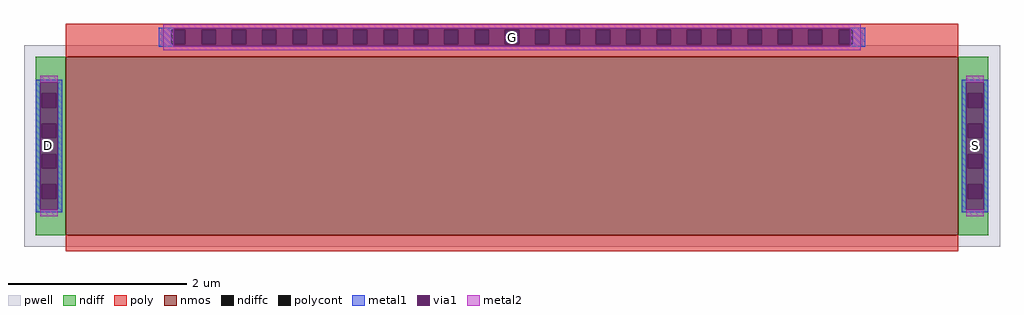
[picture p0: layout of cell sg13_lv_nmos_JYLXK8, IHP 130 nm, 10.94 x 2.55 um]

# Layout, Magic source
magic
tech ihp-sg13g2
magscale 1 2
<< pwell >>
rect -1094 -245 1094 207
<< nmos >>
rect -1000 -219 1000 181
<< ndiff >>
rect -1068 99 -1000 181
rect -1068 67 -1054 99
rect -1022 67 -1000 99
rect -1068 31 -1000 67
rect -1068 -1 -1054 31
rect -1022 -1 -1000 31
rect -1068 -37 -1000 -1
rect -1068 -69 -1054 -37
rect -1022 -69 -1000 -37
rect -1068 -105 -1000 -69
rect -1068 -137 -1054 -105
rect -1022 -137 -1000 -105
rect -1068 -219 -1000 -137
rect 1000 99 1068 181
rect 1000 67 1022 99
rect 1054 67 1068 99
rect 1000 31 1068 67
rect 1000 -1 1022 31
rect 1054 -1 1068 31
rect 1000 -37 1068 -1
rect 1000 -69 1022 -37
rect 1054 -69 1068 -37
rect 1000 -105 1068 -69
rect 1000 -137 1022 -105
rect 1054 -137 1068 -105
rect 1000 -219 1068 -137
<< ndiffc >>
rect -1054 67 -1022 99
rect -1054 -1 -1022 31
rect -1054 -69 -1022 -37
rect -1054 -137 -1022 -105
rect 1022 67 1054 99
rect 1022 -1 1054 31
rect 1022 -69 1054 -37
rect 1022 -137 1054 -105
<< poly >>
rect -1000 241 1000 255
rect -1000 209 -764 241
rect -732 209 -696 241
rect -664 209 -628 241
rect -596 209 -560 241
rect -528 209 -492 241
rect -460 209 -424 241
rect -392 209 -356 241
rect -324 209 -288 241
rect -256 209 -220 241
rect -188 209 -152 241
rect -120 209 -84 241
rect -52 209 -16 241
rect 16 209 52 241
rect 84 209 120 241
rect 152 209 188 241
rect 220 209 256 241
rect 288 209 324 241
rect 356 209 392 241
rect 424 209 460 241
rect 492 209 528 241
rect 560 209 596 241
rect 628 209 664 241
rect 696 209 732 241
rect 764 209 1000 241
rect -1000 181 1000 209
rect -1000 -255 1000 -219
<< polycont >>
rect -764 209 -732 241
rect -696 209 -664 241
rect -628 209 -596 241
rect -560 209 -528 241
rect -492 209 -460 241
rect -424 209 -392 241
rect -356 209 -324 241
rect -288 209 -256 241
rect -220 209 -188 241
rect -152 209 -120 241
rect -84 209 -52 241
rect -16 209 16 241
rect 52 209 84 241
rect 120 209 152 241
rect 188 209 220 241
rect 256 209 288 241
rect 324 209 356 241
rect 392 209 424 241
rect 460 209 492 241
rect 528 209 560 241
rect 596 209 628 241
rect 664 209 696 241
rect 732 209 764 241
<< metal1 >>
rect -792 245 792 246
rect -792 241 -758 245
rect 758 241 792 245
rect -792 209 -764 241
rect 764 209 792 241
rect -792 205 -758 209
rect 758 205 792 209
rect -792 204 792 205
rect -1068 124 -1008 130
rect -1068 -162 -1058 124
rect -1018 -162 -1008 124
rect -1068 -168 -1008 -162
rect 1008 124 1068 130
rect 1008 -162 1018 124
rect 1058 -162 1068 124
rect 1008 -168 1068 -162
<< via1 >>
rect -758 241 758 245
rect -758 209 -732 241
rect -732 209 -696 241
rect -696 209 -664 241
rect -664 209 -628 241
rect -628 209 -596 241
rect -596 209 -560 241
rect -560 209 -528 241
rect -528 209 -492 241
rect -492 209 -460 241
rect -460 209 -424 241
rect -424 209 -392 241
rect -392 209 -356 241
rect -356 209 -324 241
rect -324 209 -288 241
rect -288 209 -256 241
rect -256 209 -220 241
rect -220 209 -188 241
rect -188 209 -152 241
rect -152 209 -120 241
rect -120 209 -84 241
rect -84 209 -52 241
rect -52 209 -16 241
rect -16 209 16 241
rect 16 209 52 241
rect 52 209 84 241
rect 84 209 120 241
rect 120 209 152 241
rect 152 209 188 241
rect 188 209 220 241
rect 220 209 256 241
rect 256 209 288 241
rect 288 209 324 241
rect 324 209 356 241
rect 356 209 392 241
rect 392 209 424 241
rect 424 209 460 241
rect 460 209 492 241
rect 492 209 528 241
rect 528 209 560 241
rect 560 209 596 241
rect 596 209 628 241
rect 628 209 664 241
rect 664 209 696 241
rect 696 209 732 241
rect 732 209 758 241
rect -758 205 758 209
rect -1058 99 -1018 124
rect -1058 67 -1054 99
rect -1054 67 -1022 99
rect -1022 67 -1018 99
rect -1058 31 -1018 67
rect -1058 -1 -1054 31
rect -1054 -1 -1022 31
rect -1022 -1 -1018 31
rect -1058 -37 -1018 -1
rect -1058 -69 -1054 -37
rect -1054 -69 -1022 -37
rect -1022 -69 -1018 -37
rect -1058 -105 -1018 -69
rect -1058 -137 -1054 -105
rect -1054 -137 -1022 -105
rect -1022 -137 -1018 -105
rect -1058 -162 -1018 -137
rect 1018 99 1058 124
rect 1018 67 1022 99
rect 1022 67 1054 99
rect 1054 67 1058 99
rect 1018 31 1058 67
rect 1018 -1 1022 31
rect 1022 -1 1054 31
rect 1054 -1 1058 31
rect 1018 -37 1058 -1
rect 1018 -69 1022 -37
rect 1022 -69 1054 -37
rect 1054 -69 1058 -37
rect 1018 -105 1058 -69
rect 1018 -137 1022 -105
rect 1022 -137 1054 -105
rect 1054 -137 1058 -105
rect 1018 -162 1058 -137
<< metal2 >>
rect -782 245 782 254
rect -782 205 -758 245
rect 758 205 782 245
rect -782 196 782 205
rect -1058 124 -1018 138
rect -1058 -176 -1018 -162
rect 1018 124 1058 138
rect 1018 -176 1058 -162
<< labels >>
rlabel metal1 s -1038 -19 -1038 -19 4 D
rlabel metal1 s 1038 -19 1038 -19 4 S
rlabel metal1 s 0 225 0 225 4 G
<< end >>
